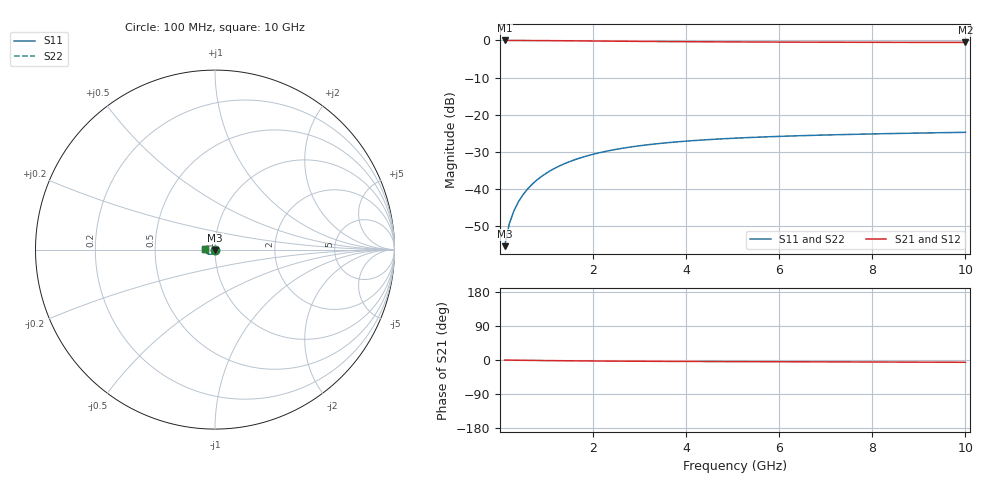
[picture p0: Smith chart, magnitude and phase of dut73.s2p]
! Touchstone file exported from HFSS 2024.1.0
!  File:  C:/UserFiles/LocalFiles/RDL_TSV_Batchsim/temp_TSV1_73_1779374173.aedt
!  Generated:  10:41:01 PM May 21, 2026
!  Design:  TSV1
!  Project:  temp_TSV1_73_1779374173
!  Setup:  Setup1
!  Solution:  Sweep
! Variables:
!  dtsv = 12.21um
!  hbump = 3um
!  htsv = 94.2um
!  lrdl = 252.1521522um
!  p = 40
!  p1 = 56.71um
!  t = 500um
!  trdl = 3um
!  wrdl = 24.89489489um
# GHz S MA R 50.000000
! Terminal data exported
! Port[1] = TSV22_T1
! Port[2] = TSV22_T2
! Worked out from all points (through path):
!   100 points, 100 MHz to 10 GHz, reference 50 ohm
!   highest |S21| = 0.00 dB at 100 MHz (marker M1); lowest = -0.5 dB at 10 GHz (marker M2)
!   lowest |S11| = -55.3 dB at 100 MHz (marker M3), VSWR 1.00, Z = 50 - j0.171 ohm
!   |S11| at or under -10 dB: start of sweep to end of sweep
!   |S22| runs from -55.3 to -24.7 dB; largest |S21 - S12| = 4.5e-15
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0.1  0.001712 -88.3  0.9998 -0.2  0.9998 -0.2  0.001712 -88.3
! Gamma 0 0 0 0
! Port Impedance 50 0 50 0
0.2  0.003418 -91.9  0.9996 -0.3  0.9996 -0.3  0.003418 -91.9
0.3  0.005121 -94.4  0.9993 -0.5  0.9993 -0.5  0.005121 -94.4
0.4  0.006815 -96.6  0.9989 -0.6  0.9989 -0.6  0.006815 -96.6
0.5  0.008494 -98.6  0.9984 -0.8  0.9984 -0.8  0.008494 -98.6
0.6  0.01015 -100.7  0.9978 -0.9  0.9978 -0.9  0.01015 -100.7
0.7  0.01178 -102.6  0.9971 -1.1  0.9971 -1.1  0.01178 -102.6
0.8  0.01338 -104.6  0.9963 -1.2  0.9963 -1.2  0.01338 -104.6
0.9  0.01495 -106.4  0.9955 -1.4  0.9955 -1.4  0.01495 -106.4
1.1  0.01797 -110.1  0.9935 -1.6  0.9935 -1.6  0.01797 -110.1
1.4  0.0222 -115.4  0.9903 -2.0  0.9903 -2.0  0.0222 -115.4
1.6  0.02479 -118.6  0.988 -2.2  0.988 -2.2  0.02479 -118.6
1.8  0.02721 -121.8  0.9856 -2.4  0.9856 -2.4  0.02721 -121.8
2.1  0.03051 -126.2  0.982 -2.7  0.982 -2.7  0.03051 -126.2
2.5  0.03435 -131.6  0.9773 -3.0  0.9773 -3.0  0.03435 -131.6
2.9  0.0376 -136.5  0.9729 -3.3  0.9729 -3.3  0.0376 -136.5
3.4  0.04098 -141.9  0.9679 -3.5  0.9679 -3.5  0.04098 -141.9
4.2  0.04518 -149.3  0.9613 -3.9  0.9613 -3.9  0.04518 -149.3
5.1  0.04865 -156.2  0.9554 -4.2  0.9554 -4.2  0.04865 -156.2
6.7  0.0529 -166.1  0.9482 -4.8  0.9482 -4.8  0.05289 -166.1
8.4  0.05595 -174.3  0.9433 -5.4  0.9433 -5.4  0.05595 -174.3
10  0.05814 179.2  0.9402 -6.0  0.9402 -6.0  0.05814 179.2
